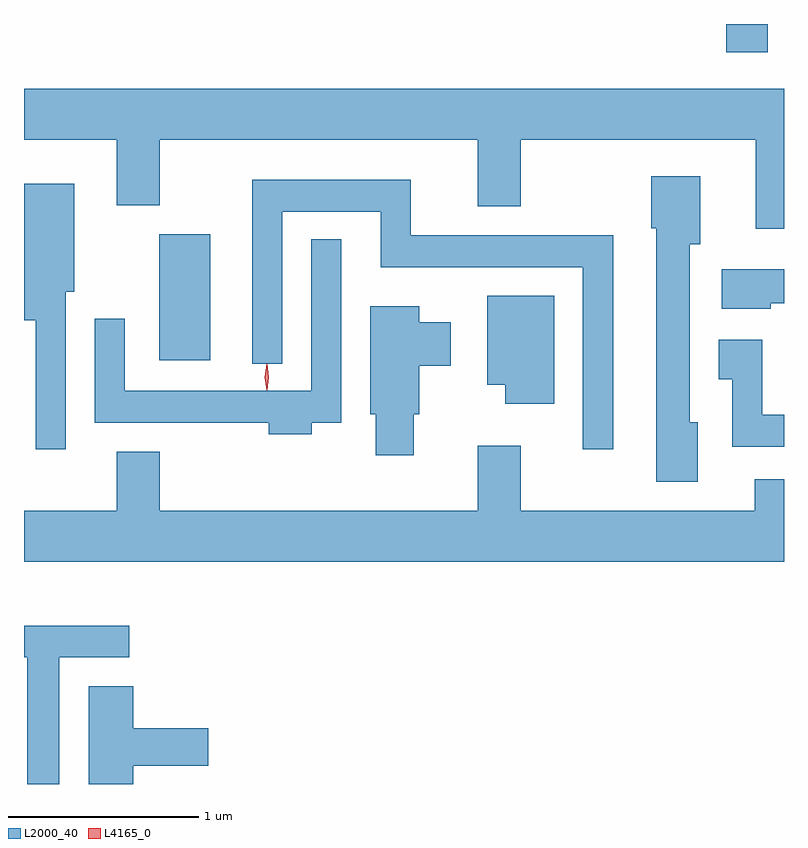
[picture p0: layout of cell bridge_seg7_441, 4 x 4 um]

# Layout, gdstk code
import gdstk
lib = gdstk.Library(unit=1e-6, precision=1e-09)
def R(c, l, rs):  # rectangles x0, y0, x1, y1
    for r in rs: c.add(gdstk.rectangle(r[:2], r[2:], *l))
def P(c, l, *ps):  # polygons
    for p in ps: c.add(gdstk.Polygon(p, *l))
L2000_40 = (2000, 40)
L4165_0 = (4165, 0)

bridge_seg7_441 = lib.new_cell('bridge_seg7_441')
R(bridge_seg7_441, L2000_40, [(1079.956,1704.276,1080.224,1704.939), (1082.941,1705.896,1083.159,1706.045)])
P(bridge_seg7_441, L2000_40, [(1083.244,1705.704),(1079.244,1705.704),(1079.244,1705.436),(1079.731,1705.436),(1079.731,1705.091),(1079.959,1705.091),(1079.959,1705.436),(1081.631,1705.436),(1081.631,1705.086),(1081.859,1705.086),(1081.859,1705.436),(1083.096,1705.436),(1083.096,1704.968),(1083.244,1704.968)],
  [(1082.789,1703.949),(1082.749,1703.949),(1082.749,1704.886),(1082.804,1704.886),(1082.804,1705.244),(1082.546,1705.244),(1082.546,1704.971),(1082.571,1704.971),(1082.571,1703.636),(1082.789,1703.636)],
  [(1082.344,1704.934),(1081.279,1704.934),(1081.279,1705.224),(1080.446,1705.224),(1080.446,1704.258),(1080.604,1704.258),(1080.604,1705.056),(1081.121,1705.056),(1081.121,1704.766),(1082.186,1704.766),(1082.186,1703.808),(1082.344,1703.808)],
  [(1079.464,1704.636),(1079.509,1704.636),(1079.509,1705.204),(1079.246,1705.204),(1079.246,1704.486),(1079.306,1704.486),(1079.306,1703.808),(1079.464,1703.808)],
  [(1080.759,1703.946),(1080.914,1703.946),(1080.914,1704.913),(1080.756,1704.913),(1080.756,1704.114),(1079.774,1704.114),(1079.774,1704.493),(1079.616,1704.493),(1079.616,1703.946),(1080.531,1703.946),(1080.531,1703.886),(1080.759,1703.886)],
  [(1083.174,1704.576),(1083.244,1704.576),(1083.244,1704.754),(1082.916,1704.754),(1082.916,1704.546),(1083.174,1704.546)],
  [(1082.034,1704.614),(1081.681,1704.614),(1081.681,1704.146),(1081.776,1704.146),(1081.776,1704.046),(1082.034,1704.046)],
  [(1081.294,1703.991),(1081.324,1703.991),(1081.324,1704.246),(1081.489,1704.246),(1081.489,1704.474),(1081.324,1704.474),(1081.324,1704.559),(1081.066,1704.559),(1081.066,1703.991),(1081.096,1703.991),(1081.096,1703.776),(1081.294,1703.776)],
  [(1083.244,1703.989),(1083.129,1703.989),(1083.129,1704.384),(1082.901,1704.384),(1082.901,1704.176),(1082.971,1704.176),(1082.971,1703.821),(1083.244,1703.821)],
  [(1083.244,1703.649),(1083.091,1703.649),(1083.091,1703.484),(1081.859,1703.484),(1081.859,1703.824),(1081.631,1703.824),(1081.631,1703.484),(1079.959,1703.484),(1079.959,1703.794),(1079.731,1703.794),(1079.731,1703.484),(1079.244,1703.484),(1079.244,1703.216),(1083.244,1703.216)],
  [(1079.429,1702.711),(1079.798,1702.711),(1079.798,1702.879),(1079.244,1702.879),(1079.244,1702.711),(1079.261,1702.711),(1079.261,1702.045),(1079.429,1702.045)],
  [(1079.819,1702.141),(1080.214,1702.141),(1080.214,1702.339),(1079.819,1702.339),(1079.819,1702.559),(1079.586,1702.559),(1079.586,1702.045),(1079.819,1702.045)])
P(bridge_seg7_441, L4165_0, [(1080.522,1704.117),(1080.522,1704.117),(1080.512,1704.187),(1080.522,1704.256),(1080.522,1704.256),(1080.523,1704.256),(1080.532,1704.187),(1080.523,1704.117)])

lib.write_gds('bridge_seg7_441.gds')
